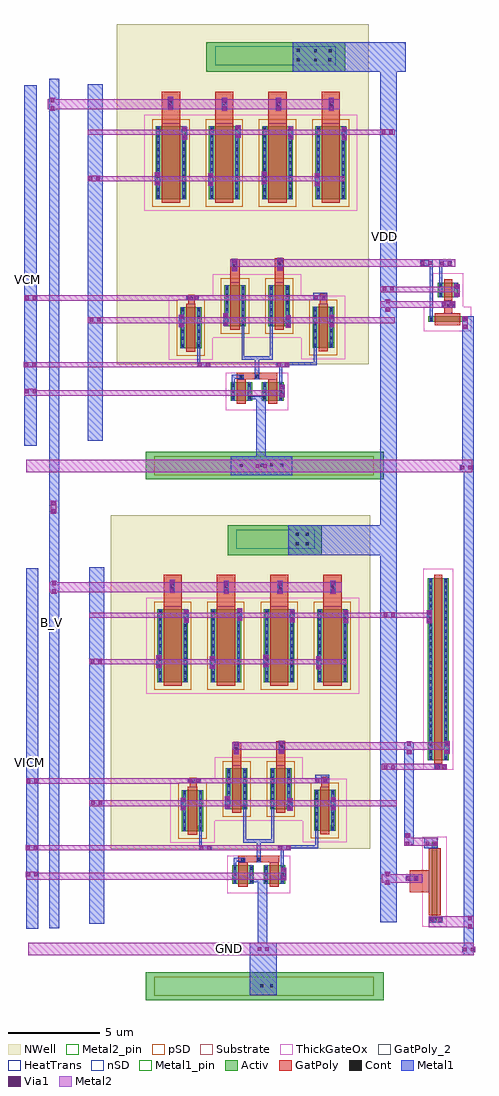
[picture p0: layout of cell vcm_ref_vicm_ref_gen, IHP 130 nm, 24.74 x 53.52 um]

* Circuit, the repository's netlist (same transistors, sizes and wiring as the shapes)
** sch_path: /home/designer/shared/unicass_2026/Design_Files/github_clone_circuit_/UNI-CASS_Project_2025_IIT_DH/vcm_ref_vicm_ref_gen.sch
.subckt vcm_ref_vicm_ref_gen vdd b_v gnd vcm vicm
*.PININFO vicm:B vdd:B vcm:B b_v:B gnd:B
M6 net1 net1 gnd gnd sg13_hv_nmos w=1u l=0.5u ng=1 m=1
M13 net1 pos net2 vdd sg13_hv_pmos w=2.25u l=0.50u ng=1 m=1
M14 vicm net1 gnd gnd sg13_hv_nmos w=1u l=0.5u ng=1 m=1
M15 vicm vicm net2 vdd sg13_hv_pmos w=2.25u l=0.5u ng=1 m=2
M16 net2 b_v vdd vdd sg13_hv_pmos w=4u l=1u ng=1 m=4
M17 net1 pos net2 vdd sg13_hv_pmos w=2.25u l=0.50u ng=1 m=1
M1 vdd vdd pos gnd sg13_hv_nmos w=10u l=0.45u ng=1 m=1
M2 pos vdd gnd gnd sg13_hv_nmos w=0.3u l=3.7u ng=1 m=1
M3 net3 net3 gnd gnd sg13_hv_nmos w=1u l=0.5u ng=1 m=1
M4 net3 pos1 net4 vdd sg13_hv_pmos w=2.25u l=0.50u ng=1 m=1
M5 vcm net3 gnd gnd sg13_hv_nmos w=1u l=0.5u ng=1 m=1
M7 vcm vcm net4 vdd sg13_hv_pmos w=2.25u l=0.5u ng=1 m=2
M8 net4 b_v vdd vdd sg13_hv_pmos w=4u l=1u ng=1 m=4
M9 net3 pos1 net4 vdd sg13_hv_pmos w=2.25u l=0.50u ng=1 m=1
M10 vdd vdd pos1 gnd sg13_hv_nmos w=0.8u l=0.45u ng=1 m=1
M11 pos1 vdd gnd gnd sg13_hv_nmos w=0.3u l=1.4u ng=1 m=1
.ends

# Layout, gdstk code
from math import pi, radians
import gdstk
lib = gdstk.Library(unit=1e-6, precision=1e-09)
def R(c, l, rs):  # rectangles x0, y0, x1, y1
    for r in rs: c.add(gdstk.rectangle(r[:2], r[2:], *l))
def A(c, l, x, y, w, h, nx, ny, dx, dy):  # array of equal rectangles
    R(c, l, [(x+i*dx, y+j*dy, x+i*dx+w, y+j*dy+h) for i in range(nx) for j in range(ny)])
def P(c, l, *ps):  # polygons
    for p in ps: c.add(gdstk.Polygon(p, *l))
Activ = (1, 0)
GatPoly = (5, 0)
GatPoly_2 = (5, 2)
Cont = (6, 0)
nSD = (7, 0)
Metal1 = (8, 0)
Metal1_pin = (8, 2)
Metal2 = (10, 0)
Metal2_pin = (10, 2)
pSD = (14, 0)
Via1 = (19, 0)
NWell = (31, 0)
Substrate = (40, 0)
ThickGateOx = (44, 0)
HeatTrans = (51, 0)

pmoshv_2 = lib.new_cell('pmosHV$2')
R(pmoshv_2, Activ, [(0,0,0.3,0.3), (0,0,1.68,4), (1.38,0,1.68,0.3)])
R(pmoshv_2, GatPoly, [(0.34,-0.18,1.34,4.18)])
R(pmoshv_2, GatPoly_2, [(0.34,-0.18,1.34,4.18)])
A(pmoshv_2, Cont, 0.07, 0.07, 0.16, 0.16, 1, 11, 0, 0.37)
A(pmoshv_2, Cont, 1.45, 0.07, 0.16, 0.16, 1, 11, 0, 0.37)
R(pmoshv_2, Metal1, [(0.07,0,0.23,4), (1.45,0,1.61,4)])
R(pmoshv_2, Metal1_pin, [(0.07,0,0.23,4), (1.45,0,1.61,4)])
R(pmoshv_2, pSD, [(-0.18,-0.4,1.86,4.4)])
R(pmoshv_2, NWell, [(-0.62,-0.62,2.3,4.62)])
R(pmoshv_2, Substrate, [(1.38,0,1.68,0.3)])
R(pmoshv_2, ThickGateOx, [(-0.62,-0.62,2.3,4.62)])
R(pmoshv_2, HeatTrans, [(0.34,-0.18,1.34,4.18)])
pmoshv_2.add(gdstk.Label('pmosHV', (0.84,2), layer=63, texttype=0))
pmoshv_2.add(gdstk.Label('pmos', (0.84,2), layer=51, texttype=0))

nmoshv = lib.new_cell('nmosHV')
R(nmoshv, Activ, [(0,0,0.3,0.3), (0,0,1.18,1), (0.88,0,1.18,0.3)])
R(nmoshv, GatPoly, [(0.34,-0.18,0.84,1.18)])
R(nmoshv, GatPoly_2, [(0.34,-0.18,0.84,1.18)])
A(nmoshv, Cont, 0.07, 0.07, 0.16, 0.16, 1, 3, 0, 0.35)
A(nmoshv, Cont, 0.95, 0.07, 0.16, 0.16, 1, 3, 0, 0.35)
R(nmoshv, Metal1, [(0.07,0,0.23,1), (0.95,0,1.11,1)])
R(nmoshv, Metal1_pin, [(0.07,0,0.23,1), (0.95,0,1.11,1)])
R(nmoshv, ThickGateOx, [(-0.27,-0.52,1.45,1.52)])
R(nmoshv, HeatTrans, [(0.34,-0.18,0.84,1.18)])
nmoshv.add(gdstk.Label('nmosHV', (0.59,0.5), layer=63, texttype=0))
nmoshv.add(gdstk.Label('nmosHV', (0.59,0.5), layer=51, texttype=0))

pmoshv = lib.new_cell('pmosHV')
R(pmoshv, Activ, [(0,0,0.3,0.3), (0,0,1.18,2.25), (0.88,0,1.18,0.3)])
R(pmoshv, GatPoly, [(0.34,-0.18,0.84,2.43)])
R(pmoshv, GatPoly_2, [(0.34,-0.18,0.84,2.43)])
A(pmoshv, Cont, 0.07, 0.07, 0.16, 0.16, 1, 6, 0, 0.39)
A(pmoshv, Cont, 0.95, 0.07, 0.16, 0.16, 1, 6, 0, 0.39)
R(pmoshv, Metal1, [(0.07,0,0.23,2.25), (0.95,0,1.11,2.25)])
R(pmoshv, Metal1_pin, [(0.07,0,0.23,2.25), (0.95,0,1.11,2.25)])
R(pmoshv, pSD, [(-0.18,-0.4,1.36,2.65)])
R(pmoshv, NWell, [(-0.62,-0.62,1.8,2.87)])
R(pmoshv, Substrate, [(0.88,0,1.18,0.3)])
R(pmoshv, ThickGateOx, [(-0.62,-0.62,1.8,2.87)])
R(pmoshv, HeatTrans, [(0.34,-0.18,0.84,2.43)])
pmoshv.add(gdstk.Label('pmosHV', (0.59,1.125), layer=63, texttype=0))
pmoshv.add(gdstk.Label('pmos', (0.59,1.125), layer=51, texttype=0))

nmoshv_6 = lib.new_cell('nmosHV$6')
R(nmoshv_6, Activ, [(0,0,0.3,0.3), (0,0,2.08,0.3), (1.78,0,2.08,0.3)])
R(nmoshv_6, GatPoly, [(0.34,-0.18,1.74,0.48)])
R(nmoshv_6, GatPoly_2, [(0.34,-0.18,1.74,0.48)])
R(nmoshv_6, Cont, [(0.07,0.07,0.23,0.23), (1.85,0.07,2.01,0.23)])
R(nmoshv_6, Metal1, [(0.07,0,0.23,0.3), (1.85,0,2.01,0.3)])
R(nmoshv_6, Metal1_pin, [(0.07,0,0.23,0.3), (1.85,0,2.01,0.3)])
R(nmoshv_6, ThickGateOx, [(-0.27,-0.52,2.35,0.82)])
R(nmoshv_6, HeatTrans, [(0.34,-0.18,1.74,0.48)])
nmoshv_6.add(gdstk.Label('nmosHV', (1.04,0.15), layer=63, texttype=0))
nmoshv_6.add(gdstk.Label('nmosHV', (1.04,0.15), layer=51, texttype=0))

via_stack_2 = lib.new_cell('via_stack$2')
R(via_stack_2, Metal1, [(-0.35,-0.145,0.35,0.145)])
R(via_stack_2, Metal2, [(-0.35,-0.145,0.35,0.145)])
R(via_stack_2, Via1, [(-0.3,-0.095,-0.11,0.095), (0.11,-0.095,0.3,0.095)])

via_stack = lib.new_cell('via_stack')
R(via_stack, Metal1, [(-0.145,-0.35,0.145,0.35)])
R(via_stack, Metal2, [(-0.145,-0.35,0.145,0.35)])
R(via_stack, Via1, [(-0.095,-0.3,0.095,-0.11), (-0.095,0.11,0.095,0.3)])

nmoshv_5 = lib.new_cell('nmosHV$5')
R(nmoshv_5, Activ, [(0,0,0.3,0.3), (0,0,1.13,0.8), (0.83,0,1.13,0.3)])
R(nmoshv_5, GatPoly, [(0.34,-0.18,0.79,0.98)])
R(nmoshv_5, GatPoly_2, [(0.34,-0.18,0.79,0.98)])
R(nmoshv_5, Cont, [(0.07,0.07,0.23,0.23), (0.9,0.07,1.06,0.23), (0.07,0.57,0.23,0.73), (0.9,0.57,1.06,0.73)])
R(nmoshv_5, Metal1, [(0.07,0,0.23,0.8), (0.9,0,1.06,0.8)])
R(nmoshv_5, Metal1_pin, [(0.07,0,0.23,0.8), (0.9,0,1.06,0.8)])
R(nmoshv_5, ThickGateOx, [(-0.27,-0.52,1.4,1.32)])
R(nmoshv_5, HeatTrans, [(0.34,-0.18,0.79,0.98)])
nmoshv_5.add(gdstk.Label('nmosHV', (0.565,0.4), layer=63, texttype=0))
nmoshv_5.add(gdstk.Label('nmosHV', (0.565,0.4), layer=51, texttype=0))

nmoshv_2 = lib.new_cell('nmosHV$2')
R(nmoshv_2, Activ, [(0,0,0.3,0.3), (0,0,1.13,10), (0.83,0,1.13,0.3)])
R(nmoshv_2, GatPoly, [(0.34,-0.18,0.79,10.18)])
R(nmoshv_2, GatPoly_2, [(0.34,-0.18,0.79,10.18)])
A(nmoshv_2, Cont, 0.07, 0.07, 0.16, 0.16, 1, 4, 0, 0.345)
A(nmoshv_2, Cont, 0.9, 0.07, 0.16, 0.16, 1, 4, 0, 0.345)
A(nmoshv_2, Cont, 0.07, 1.455, 0.16, 0.16, 1, 3, 0, 0.345)
A(nmoshv_2, Cont, 0.9, 1.455, 0.16, 0.16, 1, 3, 0, 0.345)
A(nmoshv_2, Cont, 0.07, 2.495, 0.16, 0.16, 1, 4, 0, 0.345)
A(nmoshv_2, Cont, 0.9, 2.495, 0.16, 0.16, 1, 4, 0, 0.345)
A(nmoshv_2, Cont, 0.07, 3.88, 0.16, 0.16, 1, 3, 0, 0.345)
A(nmoshv_2, Cont, 0.9, 3.88, 0.16, 0.16, 1, 3, 0, 0.345)
A(nmoshv_2, Cont, 0.07, 4.92, 0.16, 0.16, 1, 4, 0, 0.345)
A(nmoshv_2, Cont, 0.9, 4.92, 0.16, 0.16, 1, 4, 0, 0.345)
A(nmoshv_2, Cont, 0.07, 6.305, 0.16, 0.16, 1, 3, 0, 0.345)
A(nmoshv_2, Cont, 0.9, 6.305, 0.16, 0.16, 1, 3, 0, 0.345)
A(nmoshv_2, Cont, 0.07, 7.345, 0.16, 0.16, 1, 4, 0, 0.345)
A(nmoshv_2, Cont, 0.9, 7.345, 0.16, 0.16, 1, 4, 0, 0.345)
A(nmoshv_2, Cont, 0.07, 8.73, 0.16, 0.16, 1, 3, 0, 0.345)
A(nmoshv_2, Cont, 0.9, 8.73, 0.16, 0.16, 1, 3, 0, 0.345)
R(nmoshv_2, Cont, [(0.07,9.77,0.23,9.93), (0.9,9.77,1.06,9.93)])
R(nmoshv_2, Metal1, [(0.07,0,0.23,10), (0.9,0,1.06,10)])
R(nmoshv_2, Metal1_pin, [(0.07,0,0.23,10), (0.9,0,1.06,10)])
R(nmoshv_2, ThickGateOx, [(-0.27,-0.52,1.4,10.52)])
R(nmoshv_2, HeatTrans, [(0.34,-0.18,0.79,10.18)])
nmoshv_2.add(gdstk.Label('nmosHV', (0.565,5), layer=63, texttype=0))
nmoshv_2.add(gdstk.Label('nmosHV', (0.565,5), layer=51, texttype=0))

nmoshv_4 = lib.new_cell('nmosHV$4')
R(nmoshv_4, Activ, [(0,0,0.3,0.3), (0,0,4.38,0.3), (4.08,0,4.38,0.3)])
R(nmoshv_4, GatPoly, [(0.34,-0.18,4.04,0.48)])
R(nmoshv_4, GatPoly_2, [(0.34,-0.18,4.04,0.48)])
R(nmoshv_4, Cont, [(0.07,0.07,0.23,0.23), (4.15,0.07,4.31,0.23)])
R(nmoshv_4, Metal1, [(0.07,0,0.23,0.3), (4.15,0,4.31,0.3)])
R(nmoshv_4, Metal1_pin, [(0.07,0,0.23,0.3), (4.15,0,4.31,0.3)])
R(nmoshv_4, ThickGateOx, [(-0.27,-0.52,4.65,0.82)])
R(nmoshv_4, HeatTrans, [(0.34,-0.18,4.04,0.48)])
nmoshv_4.add(gdstk.Label('nmosHV', (2.19,0.15), layer=63, texttype=0))
nmoshv_4.add(gdstk.Label('nmosHV', (2.19,0.15), layer=51, texttype=0))

vcm_ref_vicm_ref_gen = lib.new_cell('vcm_ref_vicm_ref_gen')
R(vcm_ref_vicm_ref_gen, Activ, [(298.785,311.38,311.825,312.895), (303.275,335.78,308.45,337.4), (298.785,339.93,311.825,341.445), (302.11,362.28,309.725,363.9)])
R(vcm_ref_vicm_ref_gen, GatPoly, [(313.255,317.275,314.295,318.495), (303.87,318.945,306.095,319.185), (303.87,318.945,306.095,319.185), (303.87,319.18,306.095,319.285), (303.87,319.18,306.095,319.285), (304.86,319.185,305.1,319.285), (304.86,319.185,305.1,319.285), (301.205,323.065,301.575,323.58), (301.205,323.065,301.575,323.58), (301.23,323.065,301.555,323.505), (301.23,323.065,301.555,323.505), (308.415,323.085,308.835,323.525), (308.415,323.085,308.835,323.525), (308.415,323.45,308.835,323.61), (308.415,323.45,308.835,323.61), (314.6,324,315.05,324.52), (303.52,324.08,304.02,325.505), (303.52,324.08,304.02,325.505), (305.94,324.08,306.44,325.56), (305.94,324.08,306.44,325.56), (299.76,332.805,300.76,334.705), (299.76,332.805,300.76,334.705), (302.68,332.805,303.68,334.705), (302.68,332.805,303.68,334.705), (302.68,332.805,303.68,334.705), (302.68,332.805,303.68,334.705), (305.6,332.805,306.6,334.705), (305.6,332.805,306.6,334.705), (308.52,332.805,309.52,334.705), (308.52,332.805,309.52,334.705), (303.78,345.43,306.005,345.67), (303.78,345.43,306.005,345.67), (303.78,345.665,306.005,345.77), (303.78,345.665,306.005,345.77), (304.77,345.67,305.01,345.77), (304.77,345.67,305.01,345.77), (315.145,349.01,315.595,349.75), (301.115,349.55,301.485,350.065), (301.115,349.55,301.485,350.065), (301.14,349.55,301.465,349.99), (301.14,349.55,301.465,349.99), (308.325,349.57,308.745,350.01), (308.325,349.57,308.745,350.01), (308.325,349.935,308.745,350.095), (308.325,349.935,308.745,350.095), (303.43,350.565,303.93,351.99), (303.43,350.565,303.93,351.99), (305.85,350.565,306.35,352.045), (305.85,350.565,306.35,352.045), (299.67,359.29,300.67,361.19), (299.67,359.29,300.67,361.19), (302.59,359.29,303.59,361.19), (302.59,359.29,303.59,361.19), (302.59,359.29,303.59,361.19), (302.59,359.29,303.59,361.19), (305.51,359.29,306.51,361.19), (305.51,359.29,306.51,361.19), (308.43,359.29,309.43,361.19), (308.43,359.29,309.43,361.19)])
R(vcm_ref_vicm_ref_gen, Cont, [(305.075,312.085,305.235,312.245), (305.6,312.09,305.76,312.25), (313.515,317.97,313.675,318.13), (304.02,318.99,304.18,319.15), (304.02,318.99,304.18,319.15), (304.905,319.025,305.065,319.185), (304.905,319.025,305.065,319.185), (314.56,319.84,314.705,319.985), (301.305,323.285,301.465,323.445), (301.305,323.285,301.465,323.445), (308.57,323.305,308.73,323.465), (308.57,323.305,308.73,323.465), (314.77,324.07,314.93,324.23), (303.67,325.115,303.83,325.275), (303.67,325.115,303.83,325.275), (306.15,325.175,306.31,325.335), (306.15,325.175,306.31,325.335), (306.07,333.925,306.23,334.085), (306.07,333.925,306.23,334.085), (308.96,333.935,309.12,334.095), (308.96,333.935,309.12,334.095), (303.115,333.95,303.275,334.11), (303.115,333.95,303.275,334.11), (300.15,333.98,300.31,334.14), (300.15,333.98,300.31,334.14), (307.01,336.325,307.17,336.485), (307.555,336.325,307.715,336.485), (307.01,336.84,307.17,337), (307.555,336.84,307.715,337), (303.935,340.61,304.095,340.77), (305.075,340.635,305.235,340.795), (306.165,340.635,306.325,340.795), (305.6,340.64,305.76,340.8), (303.93,345.475,304.09,345.635), (303.93,345.475,304.09,345.635), (304.815,345.51,304.975,345.67), (304.815,345.51,304.975,345.67), (315.32,349.36,315.48,349.52), (301.215,349.77,301.375,349.93), (301.215,349.77,301.375,349.93), (308.48,349.79,308.64,349.95), (308.48,349.79,308.64,349.95), (303.58,351.6,303.74,351.76), (303.58,351.6,303.74,351.76), (306.06,351.66,306.22,351.82), (306.06,351.66,306.22,351.82), (305.98,360.41,306.14,360.57), (305.98,360.41,306.14,360.57), (308.87,360.42,309.03,360.58), (308.87,360.42,309.03,360.58), (303.025,360.435,303.185,360.595), (303.025,360.435,303.185,360.595), (300.06,360.465,300.22,360.625), (300.06,360.465,300.22,360.625), (308.015,362.845,308.175,363.005), (308.8,362.855,308.96,363.015), (307.07,362.865,307.23,363.025), (308.015,363.36,308.175,363.52), (308.82,363.36,308.98,363.52), (307.07,363.38,307.23,363.54)])
R(vcm_ref_vicm_ref_gen, nSD, [(303.745,336.135,308.05,337.17), (302.585,362.635,309.2,363.67)])
R(vcm_ref_vicm_ref_gen, Metal1, [(292.225,315.3,292.895,335.06), (292.225,315.3,292.895,335.06), (293.505,315.305,294.045,361.91), (295.69,315.57,296.505,335.12), (295.69,315.57,296.505,335.12), (314.05,319.715,314.785,320.27), (301.71,319.73,301.87,320.635), (301.71,319.73,301.87,320.635), (312.965,319.895,313.485,325.495), (308.07,323.26,308.835,323.725), (292.135,341.785,292.805,361.545), (292.135,341.785,292.805,361.545), (295.6,342.055,296.415,361.605), (295.6,342.055,296.415,361.605), (301.62,346.215,301.78,347.12), (301.62,346.215,301.78,347.12), (314.36,348.57,314.52,351.995), (315.145,349.36,315.595,349.69), (307.98,349.745,308.745,350.155), (314.875,349.91,315.035,351.99)])
P(vcm_ref_vicm_ref_gen, Metal1, [(303.45,340.165),(303.45,341.195),(304.835,341.195),(304.835,344.32),(304.39,344.32),(304.39,344.48),(305.39,344.48),(305.39,344.32),(305.355,344.32),(305.355,341.195),(306.825,341.195),(306.825,340.165)],
  [(311.635,315.63),(311.635,335.78),(306.605,335.78),(306.605,337.4),(311.635,337.4),(311.635,362.28),(306.855,362.28),(306.855,363.89),(313.04,363.89),(313.04,362.28),(312.54,362.28),(312.54,315.63)],
  [(304.5,311.63),(304.5,314.51),(304.925,314.51),(304.925,317.835),(304.48,317.835),(304.48,317.995),(305.48,317.995),(305.48,317.835),(305.445,317.835),(305.445,314.51),(305.96,314.51),(305.96,311.63)],
  [(316.235,313.83),(316.235,340.315),(316.14,340.315),(316.14,348.87),(316.78,348.87),(316.78,313.83)],
  [(303.6,318.535),(303.6,319.18),(304.245,319.18),(304.245,318.955),(303.76,318.955),(303.76,318.535)],
  [(304.86,318.945),(304.86,320.015),(304.13,320.015),(304.13,324.08),(304.29,324.08),(304.29,320.195),(305.67,320.195),(305.67,324.08),(305.83,324.08),(305.83,320.015),(305.1,320.015),(305.1,318.945)],
  [(306.2,318.535),(306.2,319.865),(308.09,319.865),(308.09,320.885),(308.25,320.885),(308.25,319.7),(306.36,319.7),(306.36,318.535)],
  [(303.51,345.02),(303.51,345.665),(304.155,345.665),(304.155,345.44),(303.67,345.44),(303.67,345.02)],
  [(304.77,345.43),(304.77,346.5),(304.04,346.5),(304.04,350.565),(304.2,350.565),(304.2,346.68),(305.58,346.68),(305.58,350.565),(305.74,350.565),(305.74,346.5),(305.01,346.5),(305.01,345.43)],
  [(306.11,345.02),(306.11,346.35),(308,346.35),(308,347.37),(308.16,347.37),(308.16,346.185),(306.27,346.185),(306.27,345.02)],
  [(303.51,345.02),(303.51,345.665),(304.155,345.665),(304.155,345.44),(303.67,345.44),(303.67,345.02)],
  [(304.77,345.43),(304.77,346.5),(304.04,346.5),(304.04,350.565),(304.2,350.565),(304.2,346.68),(305.58,346.68),(305.58,350.565),(305.74,350.565),(305.74,346.5),(305.01,346.5),(305.01,345.43)],
  [(306.11,345.02),(306.11,346.35),(308,346.35),(308,347.37),(308.16,347.37),(308.16,346.185),(306.27,346.185),(306.27,345.02)],
  [(303.6,318.535),(303.6,319.18),(304.245,319.18),(304.245,318.955),(303.76,318.955),(303.76,318.535)],
  [(304.86,318.945),(304.86,320.015),(304.13,320.015),(304.13,324.08),(304.29,324.08),(304.29,320.195),(305.67,320.195),(305.67,324.08),(305.83,324.08),(305.83,320.015),(305.1,320.015),(305.1,318.945)],
  [(306.2,318.535),(306.2,319.865),(308.09,319.865),(308.09,320.885),(308.25,320.885),(308.25,319.7),(306.36,319.7),(306.36,318.535)])
R(vcm_ref_vicm_ref_gen, Metal1_pin, [(292.225,315.3,292.895,335.06), (292.225,315.3,292.895,335.06), (293.505,315.305,294.045,361.91), (292.135,341.785,292.805,361.545), (292.135,341.785,292.805,361.545)])
P(vcm_ref_vicm_ref_gen, Metal1_pin, [(311.635,315.63),(311.635,335.78),(306.605,335.78),(306.605,337.4),(311.635,337.4),(311.635,362.28),(306.855,362.28),(306.855,363.89),(313.04,363.89),(313.04,362.28),(312.54,362.28),(312.54,315.63)])
R(vcm_ref_vicm_ref_gen, Metal2, [(292.33,313.83,316.78,314.515), (292.33,313.83,316.78,314.515), (314.295,315.38,316.78,315.97), (311.725,317.805,313.96,318.285), (292.225,319.58,306.685,319.87), (292.225,319.58,306.685,319.87), (312.965,319.825,314.775,320.27), (295.69,321.995,312.54,322.34), (295.69,321.995,312.54,322.34), (311.725,323.995,315.05,324.34), (303.52,325.105,315.32,325.505), (295.69,329.795,309.79,330.075), (295.69,329.795,309.79,330.075), (293.505,333.745,309.52,334.3), (293.505,333.745,309.52,334.3), (292.24,340.315,316.69,341), (292.24,340.315,316.69,341), (292.135,346.065,306.595,346.355), (292.135,346.065,306.595,346.355), (295.6,348.48,312.45,348.825), (295.6,348.48,312.45,348.825), (311.635,349.335,315.75,349.69), (311.635,350.185,315.865,350.495), (303.43,351.59,315.75,351.99), (295.6,356.28,309.7,356.56), (295.6,356.28,309.7,356.56), (295.6,358.83,312.45,359.11), (295.6,358.83,312.45,359.11), (293.415,360.23,309.43,360.785), (293.415,360.23,309.43,360.785)])
P(vcm_ref_vicm_ref_gen, Metal2, [(292.225,317.965),(292.225,318.18),(292.22,318.18),(292.22,318.345),(306.36,318.345),(306.36,318.18),(306.2,318.18),(306.2,317.965)],
  [(292.135,344.52),(292.135,344.665),(292.13,344.665),(292.13,344.83),(306.27,344.83),(306.27,344.665),(306.11,344.665),(306.11,344.52)],
  [(295.69,332.345),(295.69,332.625),(314.49,332.625),(314.49,332.35),(312.54,332.35),(312.54,332.345)],
  [(292.225,323.25),(292.225,323.55),(308.835,323.55),(308.835,323.26),(300.625,323.26),(300.625,323.25)],
  [(292.135,349.735),(292.135,350.035),(308.745,350.035),(308.745,349.745),(300.535,349.745),(300.535,349.735)],
  [(292.135,349.735),(292.135,350.035),(308.745,350.035),(308.745,349.745),(300.535,349.745),(300.535,349.735)],
  [(292.225,323.25),(292.225,323.55),(308.835,323.55),(308.835,323.26),(300.625,323.26),(300.625,323.25)])
R(vcm_ref_vicm_ref_gen, Metal2_pin, [(292.33,313.83,316.78,314.515), (292.33,313.83,316.78,314.515), (292.24,340.315,316.69,341), (292.24,340.315,316.69,341)])
R(vcm_ref_vicm_ref_gen, pSD, [(299.245,311.615,311.295,312.645), (299.245,340.165,311.295,341.195)])
R(vcm_ref_vicm_ref_gen, NWell, [(296.855,319.68,311.105,337.95), (297.185,346.235,311.025,364.9)])
vcm_ref_vicm_ref_gen.add(gdstk.Reference(pmoshv_2, (304.02,332.805), rotation=pi))
vcm_ref_vicm_ref_gen.add(gdstk.Reference(nmoshv, (303.53,317.765)))
vcm_ref_vicm_ref_gen.add(gdstk.Reference(pmoshv, (303.18,321.83)))
vcm_ref_vicm_ref_gen.add(gdstk.Reference(pmoshv_2, (304.02,332.805), rotation=pi))
vcm_ref_vicm_ref_gen.add(gdstk.Reference(nmoshv, (303.53,317.765)))
vcm_ref_vicm_ref_gen.add(gdstk.Reference(pmoshv, (303.18,321.83)))
vcm_ref_vicm_ref_gen.add(gdstk.Reference(pmoshv_2, (303.93,359.29), rotation=pi))
vcm_ref_vicm_ref_gen.add(gdstk.Reference(nmoshv, (303.44,344.25)))
vcm_ref_vicm_ref_gen.add(gdstk.Reference(pmoshv, (303.09,348.315)))
vcm_ref_vicm_ref_gen.add(gdstk.Reference(pmoshv_2, (303.93,359.29), rotation=pi))
vcm_ref_vicm_ref_gen.add(gdstk.Reference(nmoshv, (303.44,344.25)))
vcm_ref_vicm_ref_gen.add(gdstk.Reference(pmoshv, (303.09,348.315)))
vcm_ref_vicm_ref_gen.add(gdstk.Reference(nmoshv_6, (316.37,348.87), rotation=pi))
vcm_ref_vicm_ref_gen.add(gdstk.Reference(via_stack_2, (308.98,348.62), rotation=pi/2))
vcm_ref_vicm_ref_gen.add(gdstk.Reference(via_stack_2, (306.6,348.58), rotation=pi/2))
vcm_ref_vicm_ref_gen.add(gdstk.Reference(pmoshv, (305.51,348.315)))
vcm_ref_vicm_ref_gen.add(gdstk.Reference(pmoshv, (307.93,347.14)))
vcm_ref_vicm_ref_gen.add(gdstk.Reference(pmoshv_2, (306.85,359.29), rotation=pi))
vcm_ref_vicm_ref_gen.add(gdstk.Reference(nmoshv, (305.16,344.25)))
vcm_ref_vicm_ref_gen.add(gdstk.Reference(pmoshv_2, (309.77,359.29), rotation=pi))
vcm_ref_vicm_ref_gen.add(gdstk.Reference(via_stack, (306.3,346.21), rotation=pi/2))
vcm_ref_vicm_ref_gen.add(gdstk.Reference(nmoshv_5, (315.935,350.71), rotation=pi))
vcm_ref_vicm_ref_gen.add(gdstk.Reference(via_stack_2, (308.33,349.89), rotation=pi))
vcm_ref_vicm_ref_gen.add(gdstk.Reference(via_stack_2, (308.96,360.495), rotation=pi/2))
vcm_ref_vicm_ref_gen.add(gdstk.Reference(via_stack_2, (306.06,360.495), rotation=pi/2))
vcm_ref_vicm_ref_gen.add(gdstk.Reference(via_stack_2, (306.255,344.775), rotation=pi/2))
vcm_ref_vicm_ref_gen.add(gdstk.Reference(via_stack_2, (306.145,351.73), rotation=pi/2))
vcm_ref_vicm_ref_gen.add(gdstk.Reference(via_stack_2, (316.355,340.585), rotation=pi))
vcm_ref_vicm_ref_gen.add(gdstk.Reference(via_stack_2, (305.13,340.67), rotation=pi))
vcm_ref_vicm_ref_gen.add(gdstk.Reference(pmoshv_2, (309.77,359.29), rotation=pi))
vcm_ref_vicm_ref_gen.add(gdstk.Reference(pmoshv_2, (306.85,359.29), rotation=pi))
vcm_ref_vicm_ref_gen.add(gdstk.Reference(via_stack_2, (305.285,356.455), rotation=pi/2))
vcm_ref_vicm_ref_gen.add(gdstk.Reference(via_stack_2, (305.285,356.455), rotation=pi/2))
vcm_ref_vicm_ref_gen.add(gdstk.Reference(via_stack_2, (308.185,356.36), rotation=pi/2))
vcm_ref_vicm_ref_gen.add(gdstk.Reference(via_stack_2, (312.04,358.98), rotation=pi))
vcm_ref_vicm_ref_gen.add(gdstk.Reference(via_stack_2, (306.735,358.925), rotation=pi/2))
vcm_ref_vicm_ref_gen.add(gdstk.Reference(via_stack_2, (309.665,358.875), rotation=pi/2))
vcm_ref_vicm_ref_gen.add(gdstk.Reference(via_stack_2, (308.98,348.62), rotation=pi/2))
vcm_ref_vicm_ref_gen.add(gdstk.Reference(via_stack_2, (306.6,348.58), rotation=pi/2))
vcm_ref_vicm_ref_gen.add(gdstk.Reference(pmoshv, (305.51,348.315)))
vcm_ref_vicm_ref_gen.add(gdstk.Reference(pmoshv, (307.93,347.14)))
vcm_ref_vicm_ref_gen.add(gdstk.Reference(via_stack_2, (308.185,356.36), rotation=pi/2))
vcm_ref_vicm_ref_gen.add(gdstk.Reference(nmoshv, (305.16,344.25)))
vcm_ref_vicm_ref_gen.add(gdstk.Reference(via_stack_2, (312.04,358.98), rotation=pi))
vcm_ref_vicm_ref_gen.add(gdstk.Reference(via_stack, (306.3,346.21), rotation=pi/2))
vcm_ref_vicm_ref_gen.add(gdstk.Reference(via_stack_2, (308.96,360.495), rotation=pi/2))
vcm_ref_vicm_ref_gen.add(gdstk.Reference(via_stack_2, (306.06,360.495), rotation=pi/2))
vcm_ref_vicm_ref_gen.add(gdstk.Reference(via_stack_2, (306.255,344.775), rotation=pi/2))
vcm_ref_vicm_ref_gen.add(gdstk.Reference(via_stack_2, (306.145,351.73), rotation=pi/2))
vcm_ref_vicm_ref_gen.add(gdstk.Reference(via_stack_2, (316.355,340.585), rotation=pi))
vcm_ref_vicm_ref_gen.add(gdstk.Reference(via_stack_2, (305.13,340.67), rotation=pi))
vcm_ref_vicm_ref_gen.add(gdstk.Reference(via_stack_2, (312.06,349.465), rotation=pi/2))
vcm_ref_vicm_ref_gen.add(gdstk.Reference(via_stack_2, (314.175,351.795), rotation=pi))
vcm_ref_vicm_ref_gen.add(gdstk.Reference(via_stack_2, (315.225,351.77), rotation=pi))
vcm_ref_vicm_ref_gen.add(gdstk.Reference(via_stack_2, (315.355,349.54), rotation=pi))
vcm_ref_vicm_ref_gen.add(gdstk.Reference(via_stack_2, (312.085,350.375), rotation=pi))
vcm_ref_vicm_ref_gen.add(gdstk.Reference(via_stack_2, (315.855,350.28), rotation=pi/2))
vcm_ref_vicm_ref_gen.add(gdstk.Reference(via_stack_2, (306.735,358.925), rotation=pi/2))
vcm_ref_vicm_ref_gen.add(gdstk.Reference(via_stack_2, (309.665,358.875), rotation=pi/2))
vcm_ref_vicm_ref_gen.add(gdstk.Reference(via_stack_2, (316.285,348.52), rotation=pi/2))
vcm_ref_vicm_ref_gen.add(gdstk.Reference(pmoshv, (300.67,347.12)))
vcm_ref_vicm_ref_gen.add(gdstk.Reference(via_stack, (301.97,346.21), rotation=pi/2))
vcm_ref_vicm_ref_gen.add(gdstk.Reference(via_stack_2, (301.355,349.89), rotation=pi))
vcm_ref_vicm_ref_gen.add(gdstk.Reference(pmoshv, (300.67,347.12)))
vcm_ref_vicm_ref_gen.add(gdstk.Reference(via_stack, (301.97,346.21), rotation=pi/2))
vcm_ref_vicm_ref_gen.add(gdstk.Reference(via_stack_2, (303.66,351.69), rotation=pi/2))
vcm_ref_vicm_ref_gen.add(gdstk.Reference(via_stack_2, (292.455,346.21), rotation=pi))
vcm_ref_vicm_ref_gen.add(gdstk.Reference(pmoshv_2, (301.01,359.29), rotation=pi))
vcm_ref_vicm_ref_gen.add(gdstk.Reference(via_stack_2, (296.01,348.66), rotation=pi))
vcm_ref_vicm_ref_gen.add(gdstk.Reference(via_stack_2, (296.01,348.66), rotation=pi))
vcm_ref_vicm_ref_gen.add(gdstk.Reference(pmoshv_2, (301.01,359.29), rotation=pi))
vcm_ref_vicm_ref_gen.add(gdstk.Reference(via_stack_2, (303.175,348.69), rotation=pi/2))
vcm_ref_vicm_ref_gen.add(gdstk.Reference(via_stack_2, (300.75,348.615), rotation=pi/2))
vcm_ref_vicm_ref_gen.add(gdstk.Reference(via_stack_2, (303.11,360.505), rotation=pi/2))
vcm_ref_vicm_ref_gen.add(gdstk.Reference(via_stack_2, (300.145,360.56), rotation=pi/2))
vcm_ref_vicm_ref_gen.add(gdstk.Reference(via_stack_2, (293.665,360.495), rotation=pi/2))
vcm_ref_vicm_ref_gen.add(gdstk.Reference(via_stack_2, (295.97,356.43), rotation=pi))
vcm_ref_vicm_ref_gen.add(gdstk.Reference(via_stack_2, (292.48,349.885), rotation=pi))
vcm_ref_vicm_ref_gen.add(gdstk.Reference(via_stack_2, (292.47,344.745), rotation=pi))
vcm_ref_vicm_ref_gen.add(gdstk.Reference(via_stack_2, (295.97,356.43), rotation=pi))
vcm_ref_vicm_ref_gen.add(gdstk.Reference(via_stack_2, (299.425,356.42), rotation=pi/2))
vcm_ref_vicm_ref_gen.add(gdstk.Reference(via_stack_2, (303.66,351.69), rotation=pi/2))
vcm_ref_vicm_ref_gen.add(gdstk.Reference(via_stack_2, (292.455,346.21), rotation=pi))
vcm_ref_vicm_ref_gen.add(gdstk.Reference(via_stack_2, (302.355,356.37), rotation=pi/2))
vcm_ref_vicm_ref_gen.add(gdstk.Reference(via_stack_2, (300.915,358.915), rotation=pi/2))
vcm_ref_vicm_ref_gen.add(gdstk.Reference(via_stack_2, (303.855,359.005), rotation=pi/2))
vcm_ref_vicm_ref_gen.add(gdstk.Reference(via_stack_2, (299.425,356.42), rotation=pi/2))
vcm_ref_vicm_ref_gen.add(gdstk.Reference(via_stack_2, (300.915,358.915), rotation=pi/2))
vcm_ref_vicm_ref_gen.add(gdstk.Reference(via_stack_2, (303.855,359.005), rotation=pi/2))
vcm_ref_vicm_ref_gen.add(gdstk.Reference(via_stack_2, (302.355,356.37), rotation=pi/2))
vcm_ref_vicm_ref_gen.add(gdstk.Reference(via_stack_2, (303.11,360.505), rotation=pi/2))
vcm_ref_vicm_ref_gen.add(gdstk.Reference(via_stack_2, (300.145,360.56), rotation=pi/2))
vcm_ref_vicm_ref_gen.add(gdstk.Reference(via_stack_2, (293.665,360.495), rotation=pi/2))
vcm_ref_vicm_ref_gen.add(gdstk.Reference(via_stack_2, (303.175,348.69), rotation=pi/2))
vcm_ref_vicm_ref_gen.add(gdstk.Reference(via_stack_2, (300.75,348.615), rotation=pi/2))
vcm_ref_vicm_ref_gen.add(gdstk.Reference(via_stack, (293.735,338.405), rotation=pi))
vcm_ref_vicm_ref_gen.add(gdstk.Reference(via_stack_2, (301.355,349.89), rotation=pi))
vcm_ref_vicm_ref_gen.add(gdstk.Reference(via_stack_2, (292.48,349.885), rotation=pi))
vcm_ref_vicm_ref_gen.add(gdstk.Reference(via_stack_2, (292.47,344.745), rotation=pi))
vcm_ref_vicm_ref_gen.add(gdstk.Reference(via_stack_2, (293.755,334.01), rotation=pi/2))
vcm_ref_vicm_ref_gen.add(gdstk.Reference(via_stack_2, (292.57,323.4), rotation=pi))
vcm_ref_vicm_ref_gen.add(gdstk.Reference(via_stack_2, (292.56,318.26), rotation=pi))
vcm_ref_vicm_ref_gen.add(gdstk.Reference(via_stack_2, (303.75,325.205), rotation=pi/2))
vcm_ref_vicm_ref_gen.add(gdstk.Reference(via_stack_2, (292.545,319.725), rotation=pi))
vcm_ref_vicm_ref_gen.add(gdstk.Reference(via_stack_2, (301.005,332.43), rotation=pi/2))
vcm_ref_vicm_ref_gen.add(gdstk.Reference(via_stack_2, (303.945,332.52), rotation=pi/2))
vcm_ref_vicm_ref_gen.add(gdstk.Reference(via_stack_2, (303.265,322.205), rotation=pi/2))
vcm_ref_vicm_ref_gen.add(gdstk.Reference(via_stack_2, (300.84,322.13), rotation=pi/2))
vcm_ref_vicm_ref_gen.add(gdstk.Reference(pmoshv_2, (301.1,332.805), rotation=pi))
vcm_ref_vicm_ref_gen.add(gdstk.Reference(via_stack_2, (296.1,322.175), rotation=pi))
vcm_ref_vicm_ref_gen.add(gdstk.Reference(via_stack_2, (301.445,323.405), rotation=pi))
vcm_ref_vicm_ref_gen.add(gdstk.Reference(pmoshv, (300.76,320.635)))
vcm_ref_vicm_ref_gen.add(gdstk.Reference(via_stack, (302.06,319.725), rotation=pi/2))
vcm_ref_vicm_ref_gen.add(gdstk.Reference(via_stack_2, (303.2,334.02), rotation=pi/2))
vcm_ref_vicm_ref_gen.add(gdstk.Reference(via_stack_2, (300.235,334.075), rotation=pi/2))
vcm_ref_vicm_ref_gen.add(gdstk.Reference(via_stack_2, (293.755,334.01), rotation=pi/2))
vcm_ref_vicm_ref_gen.add(gdstk.Reference(via_stack_2, (292.57,323.4), rotation=pi))
vcm_ref_vicm_ref_gen.add(gdstk.Reference(via_stack_2, (292.56,318.26), rotation=pi))
vcm_ref_vicm_ref_gen.add(gdstk.Reference(via_stack_2, (303.75,325.205), rotation=pi/2))
vcm_ref_vicm_ref_gen.add(gdstk.Reference(via_stack_2, (292.545,319.725), rotation=pi))
vcm_ref_vicm_ref_gen.add(gdstk.Reference(via_stack_2, (296.1,322.175), rotation=pi))
vcm_ref_vicm_ref_gen.add(gdstk.Reference(pmoshv_2, (301.1,332.805), rotation=pi))
vcm_ref_vicm_ref_gen.add(gdstk.Reference(via_stack_2, (296.06,329.945), rotation=pi))
vcm_ref_vicm_ref_gen.add(gdstk.Reference(via_stack_2, (296.06,329.945), rotation=pi))
vcm_ref_vicm_ref_gen.add(gdstk.Reference(via_stack_2, (299.515,329.935), rotation=pi/2))
vcm_ref_vicm_ref_gen.add(gdstk.Reference(via_stack_2, (302.445,329.885), rotation=pi/2))
vcm_ref_vicm_ref_gen.add(gdstk.Reference(via_stack_2, (301.005,332.43), rotation=pi/2))
vcm_ref_vicm_ref_gen.add(gdstk.Reference(via_stack_2, (303.945,332.52), rotation=pi/2))
vcm_ref_vicm_ref_gen.add(gdstk.Reference(via_stack_2, (303.265,322.205), rotation=pi/2))
vcm_ref_vicm_ref_gen.add(gdstk.Reference(via_stack_2, (300.84,322.13), rotation=pi/2))
vcm_ref_vicm_ref_gen.add(gdstk.Reference(via_stack_2, (299.515,329.935), rotation=pi/2))
vcm_ref_vicm_ref_gen.add(gdstk.Reference(via_stack_2, (302.445,329.885), rotation=pi/2))
vcm_ref_vicm_ref_gen.add(gdstk.Reference(via_stack_2, (301.445,323.405), rotation=pi))
vcm_ref_vicm_ref_gen.add(gdstk.Reference(pmoshv, (300.76,320.635)))
vcm_ref_vicm_ref_gen.add(gdstk.Reference(via_stack, (302.06,319.725), rotation=pi/2))
vcm_ref_vicm_ref_gen.add(gdstk.Reference(via_stack_2, (303.2,334.02), rotation=pi/2))
vcm_ref_vicm_ref_gen.add(gdstk.Reference(via_stack_2, (300.235,334.075), rotation=pi/2))
vcm_ref_vicm_ref_gen.add(gdstk.Reference(pmoshv_2, (306.94,332.805), rotation=pi))
vcm_ref_vicm_ref_gen.add(gdstk.Reference(pmoshv_2, (306.94,332.805), rotation=pi))
vcm_ref_vicm_ref_gen.add(gdstk.Reference(via_stack_2, (306.825,332.44), rotation=pi/2))
vcm_ref_vicm_ref_gen.add(gdstk.Reference(via_stack_2, (309.755,332.39), rotation=pi/2))
vcm_ref_vicm_ref_gen.add(gdstk.Reference(via_stack, (306.39,319.725), rotation=pi/2))
vcm_ref_vicm_ref_gen.add(gdstk.Reference(via_stack_2, (305.375,329.97), rotation=pi/2))
vcm_ref_vicm_ref_gen.add(gdstk.Reference(via_stack_2, (308.275,329.875), rotation=pi/2))
vcm_ref_vicm_ref_gen.add(gdstk.Reference(via_stack_2, (312.13,332.495), rotation=pi))
vcm_ref_vicm_ref_gen.add(gdstk.Reference(nmoshv_2, (315.39,334.52), rotation=pi))
vcm_ref_vicm_ref_gen.add(gdstk.Reference(nmoshv_4, (314.475,320.055), rotation=3*pi/2))
vcm_ref_vicm_ref_gen.add(gdstk.Reference(via_stack_2, (306.825,332.44), rotation=pi/2))
vcm_ref_vicm_ref_gen.add(gdstk.Reference(via_stack_2, (309.755,332.39), rotation=pi/2))
vcm_ref_vicm_ref_gen.add(gdstk.Reference(via_stack_2, (309.07,322.135), rotation=pi/2))
vcm_ref_vicm_ref_gen.add(gdstk.Reference(via_stack_2, (306.69,322.095), rotation=pi/2))
vcm_ref_vicm_ref_gen.add(gdstk.Reference(via_stack_2, (313.23,325.215), rotation=pi/2))
vcm_ref_vicm_ref_gen.add(gdstk.Reference(pmoshv, (305.6,321.83)))
vcm_ref_vicm_ref_gen.add(gdstk.Reference(pmoshv, (308.02,320.655)))
vcm_ref_vicm_ref_gen.add(gdstk.Reference(nmoshv, (305.25,317.765)))
vcm_ref_vicm_ref_gen.add(gdstk.Reference(via_stack_2, (309.05,334.01), rotation=pi/2))
vcm_ref_vicm_ref_gen.add(gdstk.Reference(via_stack_2, (306.15,334.01), rotation=pi/2))
vcm_ref_vicm_ref_gen.add(gdstk.Reference(via_stack_2, (309.07,322.135), rotation=pi/2))
vcm_ref_vicm_ref_gen.add(gdstk.Reference(via_stack, (306.39,319.725), rotation=pi/2))
vcm_ref_vicm_ref_gen.add(gdstk.Reference(via_stack_2, (313.15,320.175), rotation=pi/2))
vcm_ref_vicm_ref_gen.add(gdstk.Reference(via_stack_2, (309.05,334.01), rotation=pi/2))
vcm_ref_vicm_ref_gen.add(gdstk.Reference(via_stack_2, (306.15,334.01), rotation=pi/2))
vcm_ref_vicm_ref_gen.add(gdstk.Reference(via_stack_2, (306.69,322.095), rotation=pi/2))
vcm_ref_vicm_ref_gen.add(gdstk.Reference(via_stack_2, (305.375,329.97), rotation=pi/2))
vcm_ref_vicm_ref_gen.add(gdstk.Reference(via_stack_2, (308.42,323.405), rotation=pi))
vcm_ref_vicm_ref_gen.add(gdstk.Reference(via_stack_2, (308.42,323.405), rotation=pi))
vcm_ref_vicm_ref_gen.add(gdstk.Reference(via_stack_2, (308.275,329.875), rotation=pi/2))
vcm_ref_vicm_ref_gen.add(gdstk.Reference(via_stack_2, (313.39,318.055), rotation=pi))
vcm_ref_vicm_ref_gen.add(gdstk.Reference(via_stack_2, (312.13,324.16), rotation=pi))
vcm_ref_vicm_ref_gen.add(gdstk.Reference(via_stack_2, (314.955,324.155), rotation=pi))
vcm_ref_vicm_ref_gen.add(gdstk.Reference(via_stack_2, (315.3,325.22), rotation=pi/2))
vcm_ref_vicm_ref_gen.add(gdstk.Reference(via_stack_2, (314.435,319.975), rotation=pi))
vcm_ref_vicm_ref_gen.add(gdstk.Reference(via_stack_2, (316.575,315.65), rotation=pi/2))
vcm_ref_vicm_ref_gen.add(gdstk.Reference(via_stack_2, (314.72,315.765), rotation=pi))
vcm_ref_vicm_ref_gen.add(gdstk.Reference(pmoshv, (305.6,321.83)))
vcm_ref_vicm_ref_gen.add(gdstk.Reference(via_stack_2, (306.345,318.29), rotation=pi/2))
vcm_ref_vicm_ref_gen.add(gdstk.Reference(via_stack_2, (306.235,325.245), rotation=pi/2))
vcm_ref_vicm_ref_gen.add(gdstk.Reference(via_stack_2, (306.345,318.29), rotation=pi/2))
vcm_ref_vicm_ref_gen.add(gdstk.Reference(via_stack_2, (306.235,325.245), rotation=pi/2))
vcm_ref_vicm_ref_gen.add(gdstk.Reference(via_stack_2, (316.495,314.155), rotation=pi))
vcm_ref_vicm_ref_gen.add(gdstk.Reference(via_stack_2, (305.22,314.185), rotation=pi))
vcm_ref_vicm_ref_gen.add(gdstk.Reference(via_stack_2, (312.04,318.06), rotation=pi/2))
vcm_ref_vicm_ref_gen.add(gdstk.Reference(pmoshv, (308.02,320.655)))
vcm_ref_vicm_ref_gen.add(gdstk.Reference(via_stack_2, (312.13,332.495), rotation=pi))
vcm_ref_vicm_ref_gen.add(gdstk.Reference(via_stack_2, (314.34,332.39), rotation=pi/2))
vcm_ref_vicm_ref_gen.add(gdstk.Reference(via_stack_2, (305.22,314.185), rotation=pi))
vcm_ref_vicm_ref_gen.add(gdstk.Reference(nmoshv, (305.25,317.765)))
vcm_ref_vicm_ref_gen.add(gdstk.Reference(pmoshv_2, (309.86,332.805), rotation=pi))
vcm_ref_vicm_ref_gen.add(gdstk.Reference(pmoshv_2, (309.86,332.805), rotation=pi))
vcm_ref_vicm_ref_gen.add(gdstk.Label('VDD', (311.895,353.255), layer=8, texttype=25))
vcm_ref_vicm_ref_gen.add(gdstk.Label('B_V', (293.61,332.06), layer=8, texttype=25))
vcm_ref_vicm_ref_gen.add(gdstk.Label('VCM', (292.3,350.9), layer=8, texttype=25))
vcm_ref_vicm_ref_gen.add(gdstk.Label('VCM', (292.3,350.9), layer=8, texttype=25))
vcm_ref_vicm_ref_gen.add(gdstk.Label('VICM', (292.39,324.415), layer=8, texttype=25))
vcm_ref_vicm_ref_gen.add(gdstk.Label('VICM', (292.39,324.415), layer=8, texttype=25))
vcm_ref_vicm_ref_gen.add(gdstk.Label('GND', (303.37,314.19), layer=10, texttype=25))
vcm_ref_vicm_ref_gen.add(gdstk.Label('GND', (303.37,314.19), layer=10, texttype=25))

lib.write_gds('vcm_ref_vicm_ref_gen.gds')
